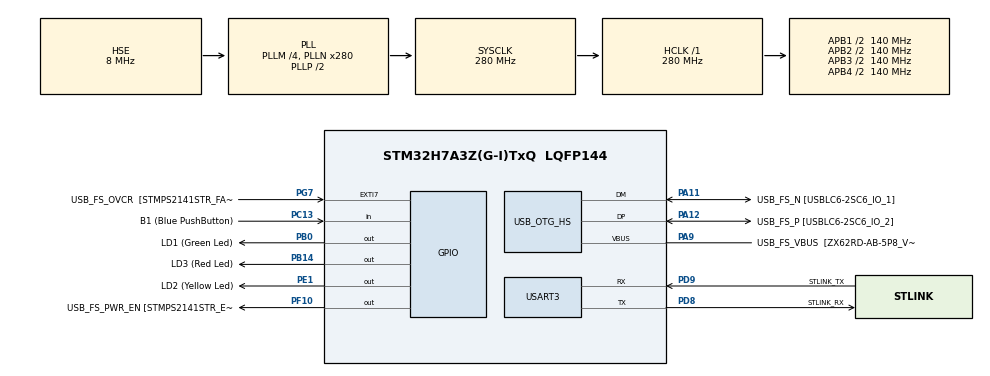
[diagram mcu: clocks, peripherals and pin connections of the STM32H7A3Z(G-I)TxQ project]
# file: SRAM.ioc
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Mcu.Family=STM32H7
Mcu.Name=STM32H7A3Z(G-I)TxQ
Mcu.Package=LQFP144
NVIC.OTG_HS_IRQn=true\:0\:0\:false\:false\:true\:false\:true
NVIC.PriorityGroup=NVIC_PRIORITYGROUP_4
PA10.GPIO_Label=USB_FS_ID [ZX62RD-AB-5P8_ID]
PA10.Signal=USB_OTG_HS_ID
PA11.GPIO_Label=USB_FS_N [USBLC6-2SC6_IO_1]
PA11.Mode=Device_Only_FS
PA11.Signal=USB_OTG_HS_DM
PA12.GPIO_Label=USB_FS_P [USBLC6-2SC6_IO_2]
PA12.Mode=Device_Only_FS
PA12.Signal=USB_OTG_HS_DP
PA13.Mode=Serial_Wire
PA13.Signal=DEBUG_JTMS-SWDIO
PA14.Mode=Serial_Wire
PA14.Signal=DEBUG_JTCK-SWCLK
PA9.GPIO_Label=USB_FS_VBUS  [ZX62RD-AB-5P8_VBUS]
PA9.Mode=Activate_VBUS_FS
PA9.Signal=USB_OTG_HS_VBUS
PB0.GPIO_Label=LD1 (Green Led)
PB0.Signal=GPIO_Output
PB14.GPIO_Label=LD3 (Red Led)
PB14.Signal=GPIO_Output
PC13.GPIO_Label=B1 (Blue PushButton)
PC13.Signal=GPIO_Input
PC14-OSC32_IN.GPIO_Label=OSC32_IN
PC14-OSC32_IN.Mode=LSE-External-Oscillator
PC14-OSC32_IN.Signal=RCC_OSC32_IN
PC15-OSC32_OUT.GPIO_Label=OSC32_OUT
PC15-OSC32_OUT.Mode=LSE-External-Oscillator
PC15-OSC32_OUT.Signal=RCC_OSC32_OUT
PD8.GPIO_Label=STLINK_RX
PD8.Mode=Asynchronous
PD8.Signal=USART3_TX
PD9.GPIO_Label=STLINK_TX
PD9.Mode=Asynchronous
PD9.Signal=USART3_RX
PE1.GPIO_Label=LD2 (Yellow Led)
PE1.Signal=GPIO_Output
PF10.GPIO_Label=USB_FS_PWR_EN [STMPS2141STR_EN]
PF10.Signal=GPIO_Output
PG7.GPIO_Label=USB_FS_OVCR  [STMPS2141STR_FAULT]
PG7.Signal=GPXTI7
PH0-OSC_IN.GPIO_Label=PH0-MCU
PH0-OSC_IN.Mode=HSE-External-Clock-Source
PH0-OSC_IN.Signal=RCC_OSC_IN
PH1-OSC_OUT.GPIO_Label=PH1-MCU
PH1-OSC_OUT.Signal=RCC_OSC_OUT
ProjectManager.HeapSize=0x4000
ProjectManager.StackSize=0x4000
ProjectManager.TargetToolchain=MDK-ARM V5.27
RCC.ADCFreq_Value=280000000
RCC.APB1Freq_Value=140000000
RCC.APB2Freq_Value=140000000
RCC.APB3Freq_Value=140000000
RCC.APB4Freq_Value=140000000
RCC.CDPPRE=RCC_APB3_DIV2
RCC.CDPPRE1=RCC_APB1_DIV2
RCC.CDPPRE2=RCC_APB2_DIV2
RCC.CortexFreq_Value=280000000
RCC.DIVM1=4
RCC.DIVM2=4
RCC.DIVM3=8
RCC.DIVN1=280
RCC.DIVN2=280
RCC.DIVN3=336
RCC.DIVQ3=7
RCC.HCLKFreq_Value=280000000
RCC.HSE_VALUE=8000000
RCC.PLLFRACN=0
RCC.PLLSourceVirtual=RCC_PLLSOURCE_HSE
RCC.PWR_Regulator_Voltage_Scale=PWR_REGULATOR_VOLTAGE_SCALE0
RCC.SRDPPRE=RCC_APB4_DIV2
RCC.SYSCLKFreq_VALUE=280000000
RCC.SYSCLKSource=RCC_SYSCLKSOURCE_PLLCLK
RCC.SupplySource=PWR_DIRECT_SMPS_SUPPLY
RCC.USBCLockSelection=RCC_USBCLKSOURCE_PLL3
RCC.USBFreq_Value=48000000
USART3.VirtualMode-Asynchronous=VM_ASYNC
USB_DEVICE.CLASS_NAME_HS=CDC
USB_DEVICE.VirtualMode-CDC_HS=Cdc
USB_DEVICE.VirtualModeHS=Cdc_HS
USB_OTG_HS.VirtualMode-Device_Only_FS=Device_Only_FS
VP_USB_DEVICE_VS_USB_DEVICE_CDC_HS.Mode=CDC_HS
board=NUCLEO-H7A3ZI-Q

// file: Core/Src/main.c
/* USER CODE BEGIN Header */
/**
  ******************************************************************************
  * @file           : main.c
  * @brief          : Main program body
  ******************************************************************************
  * @attention
  *
  * <h2><center>&copy; Copyright (c) 2021 STMicroelectronics.
  * All rights reserved.</center></h2>
  *
  * This software component is licensed by ST under BSD 3-Clause license,
  * the "License"; You may not use this file except in compliance with the
  * License. You may obtain a copy of the License at:
  *                        opensource.org/licenses/BSD-3-Clause
  *
  ******************************************************************************
  */
/* USER CODE END Header */
#include "main.h"
#include "usart.h"
#include "usb_device.h"
#include "gpio.h"

/* USER CODE BEGIN Includes */
#include "stdio.h"
#include "string.h"
#include "USBD_WinUSB_if.h"
/* USER CODE END Includes */

/* USER CODE BEGIN PV */
unsigned char ttx[] = "HELLOSTM32HELLOSTM32HELLOSTM32HELLOSTM32\
HELLOSTM32HELLOSTM32HELLOSTM32HELLOSTM32\
HELLOSTM32HELLOSTM32HELLOSTM32HELLOSTM32\
HELLOSTM32HELLOSTM32HELLOSTM32HELLOSTM32\
HELLOSTM32HELLOSTM32HELLOSTM32HELLOSTM32\
HELLOSTM32HELLOSTM32HELLOSTM32HELLOSTM32\
HELLOSTM32HELLOSTM32HELLOSTM32HELLOSTM32\
HELLOSTM32HELLOSTM32HELLOSTM32HELLOSTM32\
HELLOSTM32HELLOSTM32HELLOSTM32HELLOSTM32\
HELLOSTM32HELLOSTM32HELLOSTM32HELLOSTM32\
HELLOSTM32HELLOSTM32HELLOSTM32HELLOSTM32\
HELLOSTM32HELLOSTM32HELLOSTM32HELLOSTM32\
HELLOSTM32HELLOSTM32HELLOSTM32HELLOSTM32\
HELLOSTM32HELLOSTM32HELLOSTM32HELLOSTM32\
HELLOSTM32HELLOSTM32HELLOSTM32HELLOSTM32\
HELLOSTM32HELLOSTM32HELLOSTM32HELLOSTM32\
HELLOSTM32HELLOSTM32HELLOSTM32HELLOSTM32\
HELLOSTM32HELLOSTM32HELLOSTM32HELLOSTM32\
HELLOSTM32HELLOSTM32HELLOSTM32HELLOSTM32\
HELLOSTM32HELLOSTM32HELLOSTM32HELLOSTM32\
HELLOSTM32HELLOSTM32HELLOSTM32HELLOSTM32\
HELLOSTM32HELLOSTM32HELLOSTM32HELLOSTM32\
HELLOSTM32HELLOSTM32HELLOSTM32HELLOSTM32\
HELLOSTM32HELLOSTM32HELLOSTM32HELLOSTM32\
HELLOSTM32HELLOSTM32HELLOSTM32HELLOSTM32\
HELLOSTM32HELLOSTM32HELLOSTM32HELLOSTM32\
HELLOSTM32HELLOSTM32HELLOSTM32HELLOSTM32\
HELLOSTM32HELLOSTM32HELLOSTM32HELLOSTM32\
HELLOSTM32HELLOSTM32HELLOSTM32HELLOSTM32\
HELLOSTM32HELLOSTM32HELLOSTM32HELLOSTM32\
HELLOSTM32HELLOSTM32HELLOSTM32HELLOSTM32\
HELLOSTM32HELLOSTM32HELLOSTM32HELLOSTM32\
HELLOSTM32HELLOSTM32HELLOSTM32HELLOSTM32\
HELLOSTM32HELLOSTM32HELLOSTM32HELLOSTM32\
HELLOSTM32HELLOSTM32HELLOSTM32HELLOSTM32\
HELLOSTM32HELLOSTM32HELLOSTM32HELLOSTM32\
HELLOSTM32HELLOSTM32HELLOSTM32HELLOSTM32\
HELLOSTM32HELLOSTM32HELLOSTM32HELLOSTM32\
HELLOSTM32HELLOSTM32HELLOSTM32HELLOSTM32\
HELLOSTM32HELLOSTM32HELLOSTM32HELLOSTM32\
HELLOSTM32HELLOSTM32HELLOSTM32HELLOSTM32\
HELLOSTM32HELLOSTM32HELLOSTM32HELLOSTM32\
HELLOSTM32HELLOSTM32HELLOSTM32HELLOSTM32\
HELLOSTM32HELLOSTM32HELLOSTM32HELLOSTM32\
HELLOSTM32HELLOSTM32HELLOSTM32HELLOSTM32\
HELLOSTM32HELLOSTM32HELLOSTM32HELLOSTM32\
HELLOSTM32HELLOSTM32HELLOSTM32HELLOSTM32\
HELLOSTM32HELLOSTM32HELLOSTM32HELLOSTM32\
HELLOSTM32HELLOSTM32HELLOSTM32HELLOSTM32\
HELLOSTM32HELLOSTM32HELLOSTM32HELLOSTM32\
HELLOSTM32HELLOSTM32HELLOSTM32HELLOSTM32\
HELLOSTM32HELLOSTM32HELLOSTM32HELLOSTM32\
HELLOSTM32HELLOSTM32HELLOSTM32HELLOSTM32\
HELLOSTM32HELLOSTM32HELLOSTM32HELLOSTM32";
unsigned char f = 0;
unsigned int c = 0;
unsigned char ff = 0;
/* USER CODE END PV */

void SystemClock_Config(void);

int main(void)
{
  /* USER CODE BEGIN 1 */
//	unsigned char t = 0;
//	unsigned char str[] = "hello stm32_000\r\n";

  /* USER CODE END 1 */

  /* MCU Configuration--------------------------------------------------------*/

  /* Reset of all peripherals, Initializes the Flash interface and the Systick. */
  HAL_Init();

  /* Configure the system clock */
  SystemClock_Config();

  /* Initialize all configured peripherals */
  MX_GPIO_Init();
  MX_USART3_UART_Init();
  MX_USB_DEVICE_Init();

  /* Infinite loop */
  while (1)
  {

    /* USER CODE BEGIN 3 */
//		printf("This is sram\n");
//		HAL_GPIO_TogglePin(GPIOB, LD1_Pin|LD3_Pin);
//		CDC_Transmit_HS(str,strlen(str));
//		t++;
//		sprintf(str,"hello stm32_%d\r\n",t);
			int32_t k = 0;
		if(f == 1)
		{
			while (USBD_WinUSB_Transmit_HS(ttx, sizeof(ttx)) != USBD_OK)
			{
				k++;
			}
			c = c + sizeof(ttx);
		}
  }
  /* USER CODE END 3 */
}

void SystemClock_Config(void)
{
  RCC_OscInitTypeDef RCC_OscInitStruct = {0};
  RCC_ClkInitTypeDef RCC_ClkInitStruct = {0};

  /** Supply configuration update enable
  */
  HAL_PWREx_ConfigSupply(PWR_DIRECT_SMPS_SUPPLY);
  /** Configure the main internal regulator output voltage
  */
  __HAL_PWR_VOLTAGESCALING_CONFIG(PWR_REGULATOR_VOLTAGE_SCALE0);

  while(!__HAL_PWR_GET_FLAG(PWR_FLAG_VOSRDY)) {}
  /** Macro to configure the PLL clock source
  */
  __HAL_RCC_PLL_PLLSOURCE_CONFIG(RCC_PLLSOURCE_HSE);
  /** Initializes the RCC Oscillators according to the specified parameters
  * in the RCC_OscInitTypeDef structure.
  */
  RCC_OscInitStruct.OscillatorType = RCC_OSCILLATORTYPE_HSE;
  RCC_OscInitStruct.HSEState = RCC_HSE_BYPASS;
  RCC_OscInitStruct.PLL.PLLState = RCC_PLL_ON;
  RCC_OscInitStruct.PLL.PLLSource = RCC_PLLSOURCE_HSE;
  RCC_OscInitStruct.PLL.PLLM = 4;
  RCC_OscInitStruct.PLL.PLLN = 280;
  RCC_OscInitStruct.PLL.PLLP = 2;
  RCC_OscInitStruct.PLL.PLLQ = 2;
  RCC_OscInitStruct.PLL.PLLR = 2;
  RCC_OscInitStruct.PLL.PLLRGE = RCC_PLL1VCIRANGE_1;
  RCC_OscInitStruct.PLL.PLLVCOSEL = RCC_PLL1VCOWIDE;
  RCC_OscInitStruct.PLL.PLLFRACN = 0;
  if (HAL_RCC_OscConfig(&RCC_OscInitStruct) != HAL_OK)
  {
    Error_Handler();
  }
  /** Initializes the CPU, AHB and APB buses clocks
  */
  RCC_ClkInitStruct.ClockType = RCC_CLOCKTYPE_HCLK|RCC_CLOCKTYPE_SYSCLK
                              |RCC_CLOCKTYPE_PCLK1|RCC_CLOCKTYPE_PCLK2
                              |RCC_CLOCKTYPE_D3PCLK1|RCC_CLOCKTYPE_D1PCLK1;
  RCC_ClkInitStruct.SYSCLKSource = RCC_SYSCLKSOURCE_PLLCLK;
  RCC_ClkInitStruct.SYSCLKDivider = RCC_SYSCLK_DIV1;
  RCC_ClkInitStruct.AHBCLKDivider = RCC_HCLK_DIV1;
  RCC_ClkInitStruct.APB3CLKDivider = RCC_APB3_DIV2;
  RCC_ClkInitStruct.APB1CLKDivider = RCC_APB1_DIV2;
  RCC_ClkInitStruct.APB2CLKDivider = RCC_APB2_DIV2;
  RCC_ClkInitStruct.APB4CLKDivider = RCC_APB4_DIV2;

  if (HAL_RCC_ClockConfig(&RCC_ClkInitStruct, FLASH_LATENCY_7) != HAL_OK)
  {
    Error_Handler();
  }
}

void Error_Handler(void)
{
  __disable_irq();
  while (1)
  {
  }
}

/************************ (C) COPYRIGHT STMicroelectronics *****END OF FILE****/
